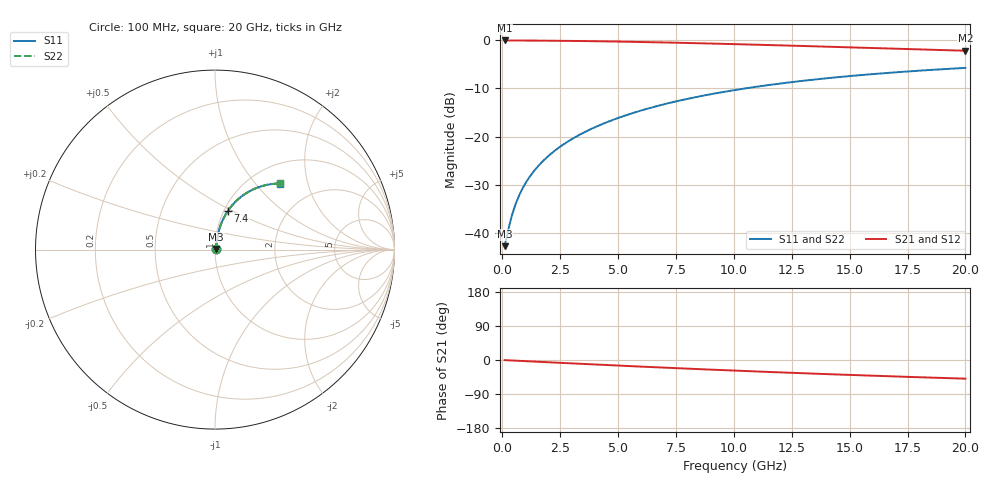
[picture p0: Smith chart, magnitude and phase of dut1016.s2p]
! Touchstone file exported from HFSS 2024.1.0
!  File:  C:/UserFiles/LocalFiles/RDL_TSV_Batchsim/temp_RDL_bottom_1016_1780050546.aedt
!  Generated:  06:31:23 PM May 29, 2026
!  Design:  RDL_bottom
!  Project:  temp_RDL_bottom_1016_1780050546
!  Setup:  Setup1
!  Solution:  Sweep
! Variables:
!  dtsv = 10.80580581um
!  hbump = 3um
!  htsv = 68.21um
!  ldown = 622.61um
!  lrdl = 100um
!  p = 40
!  p1 = 57.62um
!  rhole = 1um
!  t = 450um
!  tdown = 2.16um
!  trdl = 3.915915916um
!  wdown = 15.94um
!  wrdl = 20um
# GHz S MA R 50.000000
! Terminal data exported
! Port[1] = RDL1_T1
! Port[2] = RDL1_T2
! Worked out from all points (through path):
!   200 points, 100 MHz to 20 GHz, reference 50 ohm
!   highest |S21| = -0.06 dB at 100 MHz (marker M1); lowest = -2.2 dB at 20 GHz (marker M2)
!   group delay of S21, straight-line fit = 6.84 ps
!   lowest |S11| = -42.7 dB at 100 MHz (marker M3), VSWR 1.01, Z = 50.7 + j0.334 ohm
!   |S11| at or under -10 dB: start of sweep to 10.48 GHz
!   |S22| runs from -42.7 to -5.7 dB; largest |S21 - S12| = 4.3e-15
!   S11 on the Smith chart (normalised r, x): 100 MHz: 1.01, +0.01; 7.4 GHz: 1.05, +0.48; 20 GHz: 1.35, +1.36
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0.1  0.007349 26.7  0.9934 -0.3  0.9934 -0.3  0.007349 26.7
! Gamma 0 0 0 0
! Port Impedance 50 0 50 0
0.3  0.01197 55.2  0.9932 -0.9  0.9932 -0.9  0.01197 55.2
0.4  0.01483 61.6  0.993 -1.2  0.993 -1.2  0.01483 61.6
0.5  0.01778 65.8  0.9927 -1.5  0.9927 -1.5  0.01778 65.8
0.6  0.02079 68.7  0.9925 -1.9  0.9925 -1.9  0.02079 68.7
0.7  0.02381 70.8  0.9922 -2.2  0.9922 -2.2  0.02381 70.8
0.9  0.02987 73.6  0.9916 -2.8  0.9916 -2.8  0.02987 73.6
1.2  0.03898 76.1  0.9907 -3.6  0.9907 -3.6  0.03898 76.1
1.4  0.04508 77.1  0.9901 -4.2  0.9901 -4.2  0.04508 77.1
1.7  0.05425 78.0  0.989 -5.1  0.989 -5.1  0.05425 78.0
2.2  0.06962 78.7  0.9868 -6.6  0.9868 -6.6  0.06962 78.7
2.8  0.08815 78.8  0.9837 -8.4  0.9837 -8.4  0.08815 78.8
3.5  0.1098 78.3  0.9793 -10.4  0.9793 -10.4  0.1099 78.3
4.2  0.1315 77.4  0.9742 -12.4  0.9742 -12.4  0.1316 77.4
5  0.1563 76.1  0.9674 -14.7  0.9674 -14.7  0.1563 76.2
6.8  0.2112 72.7  0.9494 -19.6  0.9494 -19.6  0.2113 72.7
7.4  0.2291 71.4  0.9427 -21.2  0.9427 -21.2  0.2292 71.5
8.7  0.267 68.6  0.9272 -24.6  0.9272 -24.6  0.2671 68.6
10.1  0.306 65.5  0.9095 -28.1  0.9095 -28.1  0.3062 65.6
13.4  0.3893 58.3  0.8652 -35.9  0.8652 -35.9  0.3895 58.4
16.7  0.4592 51.6  0.8203 -42.9  0.8203 -42.9  0.4595 51.6
20  0.5164 45.5  0.7773 -49.3  0.7773 -49.3  0.5167 45.5
